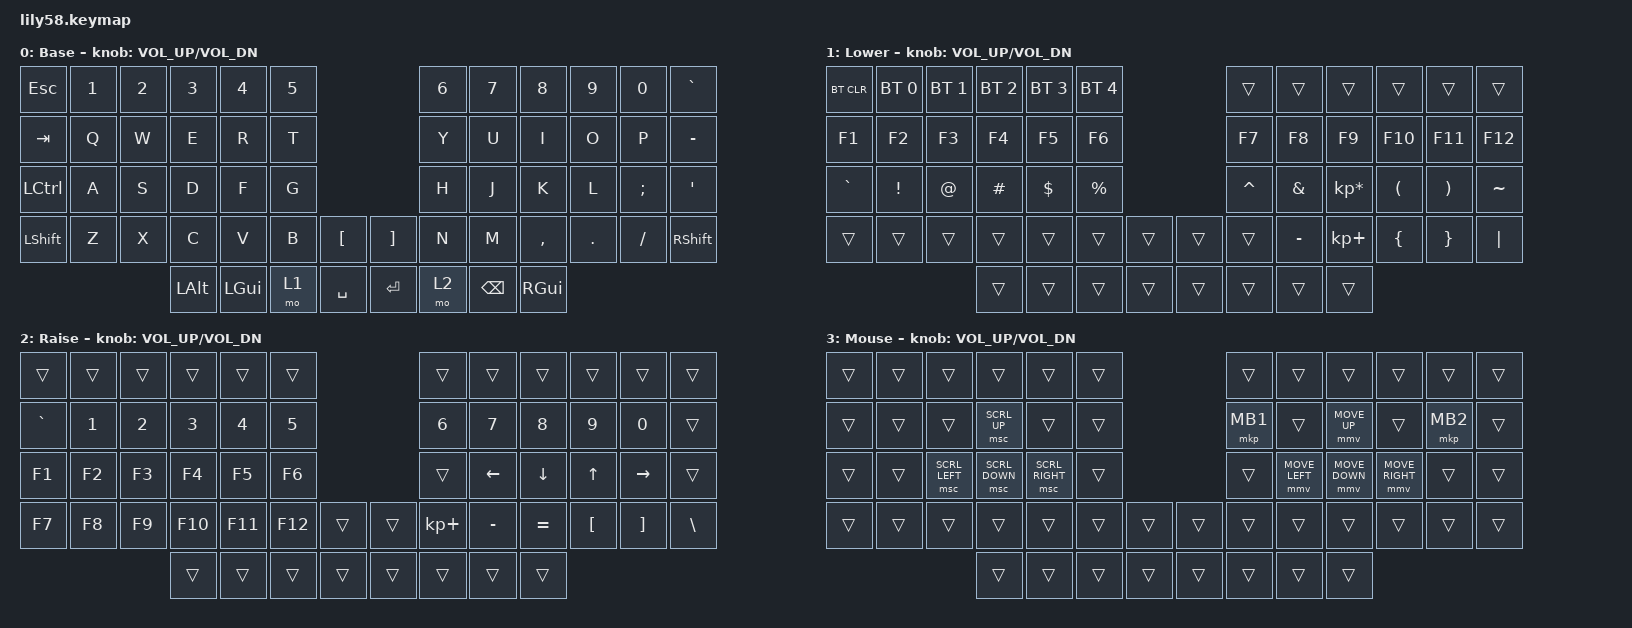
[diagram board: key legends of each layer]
/*
 * Copyright (c) 2020 The ZMK Contributors
 *
 * SPDX-License-Identifier: MIT
 */

#include <behaviors.dtsi>
#include <dt-bindings/zmk/keys.h>
#include <dt-bindings/zmk/bt.h>
#include <dt-bindings/zmk/ext_power.h>
#include <dt-bindings/zmk/pointing.h>
#include <behaviors/mouse_keys.dtsi>


&mmv {
    time-to-max-speed-ms = <50>;
};

&msc {
    acceleration-exponent = <1>;
    delay-ms = <5>;
    time-to-max-speed-ms = <50>;
};

/ {

    keymap {
        compatible = "zmk,keymap";

        default_layer {
// ------------------------------------------------------------------------------------------------------------
// |  ESC  |  1  |  2  |  3   |  4   |  5   |                   |  6   |  7    |  8    |  9   |   0   |   `   |
// |  TAB  |  Q  |  W  |  E   |  R   |  T   |                   |  Y   |  U    |  I    |  O   |   P   |   -   |
// |  CTRL |  A  |  S  |  D   |  F   |  G   |                   |  H   |  J    |  K    |  L   |   ;   |   '   |
// | SHIFT |  Z  |  X  |  C   |  V   |  B   |   "["  |  |  "]"  |  N   |  M    |  ,    |  .   |   /   | SHIFT |
//                     | ALT  | GUI  | LOWER|  SPACE |  | ENTER | RAISE| BSPC  | GUI   |
            display-name = "Base";
            bindings = <
&kp ESC   &kp N1 &kp N2 &kp N3   &kp N4   &kp N5                     &kp N6 &kp N7   &kp N8    &kp N9  &kp N0   &kp GRAVE
&kp TAB   &kp Q  &kp W  &kp E    &kp R    &kp T                      &kp Y  &kp U    &kp I     &kp O   &kp P    &kp MINUS
&kp LCTRL &kp A  &kp S  &kp D    &kp F    &kp G                      &kp H  &kp J    &kp K     &kp L   &kp SEMI &kp SQT
&kp LSHFT &kp Z  &kp X  &kp C    &kp V    &kp B  &kp LBKT   &kp RBKT &kp N  &kp M    &kp COMMA &kp DOT &kp FSLH &kp RSHFT
                        &kp LALT &kp LGUI &mo 1  &kp SPACE  &kp RET  &mo 2  &kp BSPC &kp RGUI
            >;

            sensor-bindings = <&inc_dec_kp C_VOL_UP C_VOL_DN>;
        };

        lower_layer {
// ------------------------------------------------------------------------------------------------------------
// | BTCLR | BT1 | BT2 |  BT3 |  BT4 |  BT5 |                   |      |       |       |      |       |       |
// |  F1   |  F2 |  F3 |  F4  |  F5  |  F6  |                   |  F7  |  F8   |  F9   |  F10 |  F11  |  F12  |
// |   `   |  !  |  @  |  #   |  $   |  %   |                   |  ^   |  &    |  *    |  (   |   )   |   ~   |
// |       |     |     |      |      |      |        |  |       |      |  _    |  +    |  {   |   }   |  "|"  |
//                     |      |      |      |        |  |       |      |       |       |
            display-name = "Lower";
            bindings = <
&bt BT_CLR &bt BT_SEL 0     &bt BT_SEL 1      &bt BT_SEL 2      &bt BT_SEL 3 &bt BT_SEL 4                 &trans    &trans    &trans          &trans    &trans    &trans
&kp F1     &kp F2           &kp F3            &kp F4            &kp F5       &kp F6                       &kp F7    &kp F8    &kp F9          &kp F10   &kp F11   &kp F12
&kp GRAVE  &kp EXCL         &kp AT            &kp HASH          &kp DOLLAR   &kp PRCNT                    &kp CARET &kp AMPS  &kp KP_MULTIPLY &kp LPAR  &kp RPAR  &kp TILDE
&trans     &trans           &trans            &trans            &trans       &trans    &trans   &trans    &trans    &kp MINUS &kp KP_PLUS     &kp LBRC  &kp RBRC  &kp PIPE
                                              &trans            &trans       &trans    &trans   &trans    &trans    &trans    &trans
            >;

            sensor-bindings = <&inc_dec_kp C_VOL_UP C_VOL_DN>;
        };

        raise_layer {
// ------------------------------------------------------------------------------------------------------------
// |       |     |     |      |      |      |                   |      |       |       |      |       |       |
// |   `   |  1  |  2  |  3   |  4   |  5   |                   |  6   |   7   |   8   |  9   |   0   |       |
// |   F1  |  F2 |  F3 |  F4  |  F5  |  F6  |                   |      |   <-  |   v   |  ^   |  ->   |       |
// |   F7  |  F8 |  F9 |  F10 |  F11 |  F12 |        |  |       |  +   |   -   |   =   |  [   |   ]   |   \   |
//                     |      |      |      |        |  |       |      |       |       |
            display-name = "Raise";
            bindings = <
&trans    &trans &trans &trans  &trans  &trans                       &trans      &trans    &trans    &trans   &trans    &trans
&kp GRAVE &kp N1 &kp N2 &kp N3  &kp N4  &kp N5                       &kp N6      &kp N7    &kp N8    &kp N9   &kp N0    &trans
&kp F1    &kp F2 &kp F3 &kp F4  &kp F5  &kp F6                       &trans      &kp LEFT  &kp DOWN  &kp UP   &kp RIGHT &trans
&kp F7    &kp F8 &kp F9 &kp F10 &kp F11 &kp F12   &trans   &trans    &kp KP_PLUS &kp MINUS &kp EQUAL &kp LBKT &kp RBKT  &kp BSLH
                        &trans  &trans  &trans    &trans   &trans    &trans      &trans    &trans
            >;

            sensor-bindings = <&inc_dec_kp C_VOL_UP C_VOL_DN>;
        };

                    mouse {
            display-name = "Mouse";
            bindings = <
&trans        &trans         &trans         &trans          &trans           &trans                       &trans         &trans         &trans         &trans           &trans        &trans
&trans        &trans         &trans         &msc SCRL_UP    &trans           &trans                       &mkp MB1       &trans         &mmv MOVE_UP   &trans           &mkp MB2      &trans
&trans        &trans         &msc SCRL_LEFT &msc SCRL_DOWN  &msc SCRL_RIGHT  &trans                       &trans         &mmv MOVE_LEFT &mmv MOVE_DOWN &mmv MOVE_RIGHT  &trans        &trans
&trans        &trans         &trans         &trans          &trans           &trans   &trans     &trans   &trans         &trans         &trans         &trans           &trans        &trans
                                            &trans          &trans           &trans   &trans     &trans   &trans         &trans         &trans
            >;

            sensor-bindings = <&inc_dec_kp C_VOL_UP C_VOL_DN>;
        };





        extra_1 {
            status = "reserved";
        };

        extra_2 {
            status = "reserved";
        };

        extra_3 {
            status = "reserved";
        };
    };
};
